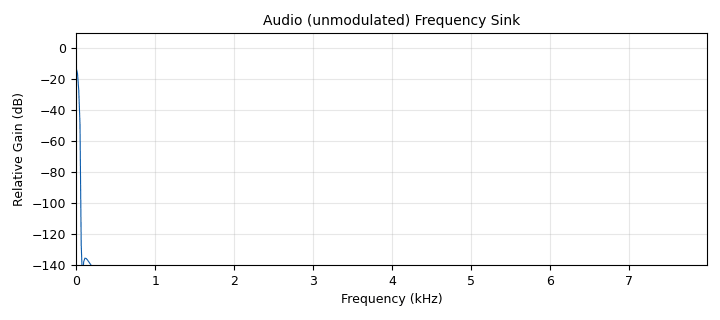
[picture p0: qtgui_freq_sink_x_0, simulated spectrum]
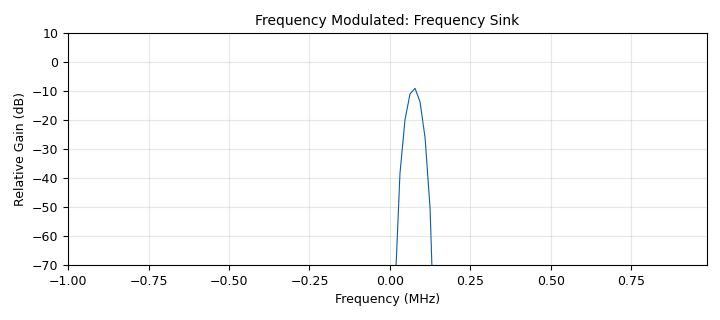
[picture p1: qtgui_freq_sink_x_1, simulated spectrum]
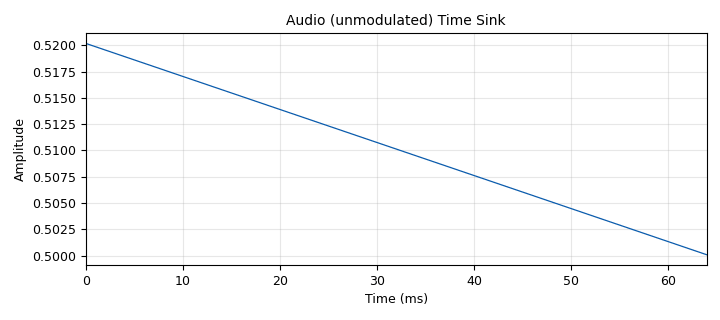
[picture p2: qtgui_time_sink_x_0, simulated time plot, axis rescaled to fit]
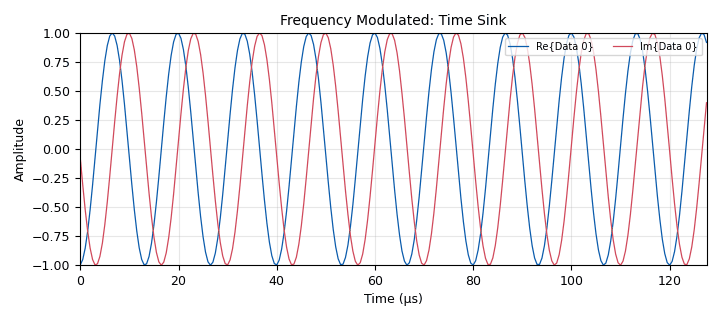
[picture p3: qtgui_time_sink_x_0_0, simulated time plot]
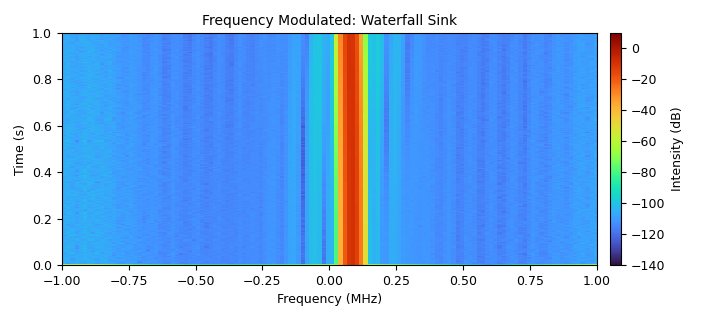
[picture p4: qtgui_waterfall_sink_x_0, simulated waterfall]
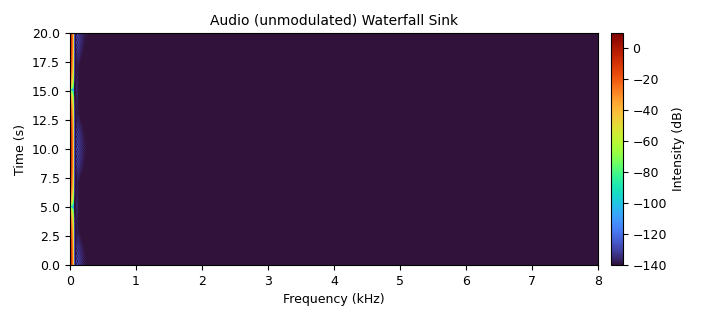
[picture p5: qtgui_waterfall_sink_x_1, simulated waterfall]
options:
  parameters:
    author: christopher.j.vanbuskirk93
    generate_options: qt_gui
    id: GRC_FM_Transmitter
    output_language: python
    title: Not titled yet
  states: {}

blocks:
- name: audio_samp_rate
  id: variable
  parameters:
    value: '16000'
  states: {}
- name: center_freq_slider
  id: variable_qtgui_range
  parameters:
    orient: Qt.Horizontal
    start: 88e6
    step: 10e3
    stop: 108e6
    value: 98.5e6
  states: {state: disabled}
- name: samp_rate
  id: variable
  parameters:
    value: 2e6
  states: {}
- name: tone_ampli
  id: variable_qtgui_range
  parameters:
    gui_hint: (0,1)
    orient: Qt.Horizontal
    start: '0'
    step: '0.01'
    stop: '1'
    value: '0.5'
  states: {}
- name: tone_freq
  id: variable_qtgui_range
  parameters:
    gui_hint: (0,0)
    orient: Qt.Horizontal
    start: '0'
    step: '0.01'
    stop: '1000'
    value: '0.1'
  states: {}
- name: analog_sig_source_x_0
  id: analog_sig_source_x
  parameters:
    amp: tone_ampli
    freq: tone_freq
    offset: '0.5'
    phase: '0'
    samp_rate: audio_samp_rate
    type: float
    waveform: analog.GR_COS_WAVE
  states: {}
- name: analog_wfm_tx_0
  id: analog_wfm_tx
  parameters:
    audio_rate: int(samp_rate)
    fh: '-1.0'
    max_dev: 75e3
    quad_rate: int(samp_rate)
    tau: '75e-6'
  states: {}
- name: audio_sink_0
  id: audio_sink
  parameters:
    samp_rate: audio_samp_rate
  states: {}
- name: blocks_wavfile_source_0
  id: blocks_wavfile_source
  parameters:
    file: /home/christopher.j.vanbuskirk93/Downloads/linkin-park-title-in-the-end.wav
    repeat: 'True'
  states: {state: disabled}
- name: osmosdr_sink_0
  id: osmosdr_sink
  parameters:
    args: '"hackrf=0"'
    bb_gain0: '0'
    freq0: center_freq_slider
    gain0: '10'
    if_gain0: '32'
    sample_rate: samp_rate
    sync: sync
    type: fc32
  states: {state: disabled}
- name: qtgui_freq_sink_x_0
  id: qtgui_freq_sink_x
  parameters:
    average: '0.05'
    bw: audio_samp_rate
    fc: '0'
    fftsize: '1024'
    freqhalf: 'False'
    gui_hint: (2,0)
    name: '"Audio (unmodulated) Frequency Sink"'
    type: float
    update_time: '0.1'
    wintype: firdes.WIN_BLACKMAN_hARRIS
  states: {}
- name: qtgui_freq_sink_x_1
  id: qtgui_freq_sink_x
  parameters:
    bw: samp_rate
    fc: '0'
    fftsize: '128'
    gui_hint: (2,1)
    name: '"Frequency Modulated: Frequency Sink"'
    type: complex
    update_time: '0.1'
    wintype: firdes.WIN_BLACKMAN_hARRIS
    ymin: '-70'
  states: {}
- name: qtgui_time_sink_x_0
  id: qtgui_time_sink_x
  parameters:
    gui_hint: (1,0)
    name: '"Audio (unmodulated) Time Sink"'
    size: '1024'
    srate: audio_samp_rate
    type: float
    update_time: '0.1'
  states: {}
- name: qtgui_time_sink_x_0_0
  id: qtgui_time_sink_x
  parameters:
    gui_hint: (1,1)
    name: '"Frequency Modulated: Time Sink"'
    size: '256'
    srate: samp_rate
    type: complex
    update_time: '0.1'
  states: {}
- name: qtgui_waterfall_sink_x_0
  id: qtgui_waterfall_sink_x
  parameters:
    bw: samp_rate
    fc: '0'
    fftsize: '128'
    gui_hint: (3,1)
    name: '"Frequency Modulated: Waterfall Sink"'
    type: complex
    update_time: '0.1'
    wintype: firdes.WIN_BLACKMAN_hARRIS
  states: {}
- name: qtgui_waterfall_sink_x_1
  id: qtgui_waterfall_sink_x
  parameters:
    bw: audio_samp_rate
    fc: '0'
    fftsize: '1024'
    freqhalf: 'False'
    gui_hint: (3,0)
    name: '"Audio (unmodulated) Waterfall Sink"'
    type: float
    update_time: '0.1'
    wintype: firdes.WIN_BLACKMAN_hARRIS
  states: {}
- name: rational_resampler_xxx_0
  id: rational_resampler_xxx
  parameters:
    decim: audio_samp_rate
    interp: int(samp_rate)
    taps: ''
    type: fff
  states: {}

connections:
- [analog_sig_source_x_0, '0', audio_sink_0, '0']
- [analog_sig_source_x_0, '0', qtgui_freq_sink_x_0, '0']
- [analog_sig_source_x_0, '0', qtgui_time_sink_x_0, '0']
- [analog_sig_source_x_0, '0', qtgui_waterfall_sink_x_1, '0']
- [analog_sig_source_x_0, '0', rational_resampler_xxx_0, '0']
- [analog_wfm_tx_0, '0', osmosdr_sink_0, '0']
- [analog_wfm_tx_0, '0', qtgui_freq_sink_x_1, '0']
- [analog_wfm_tx_0, '0', qtgui_time_sink_x_0_0, '0']
- [analog_wfm_tx_0, '0', qtgui_waterfall_sink_x_0, '0']
- [rational_resampler_xxx_0, '0', analog_wfm_tx_0, '0']

metadata:
  file_format: 1
